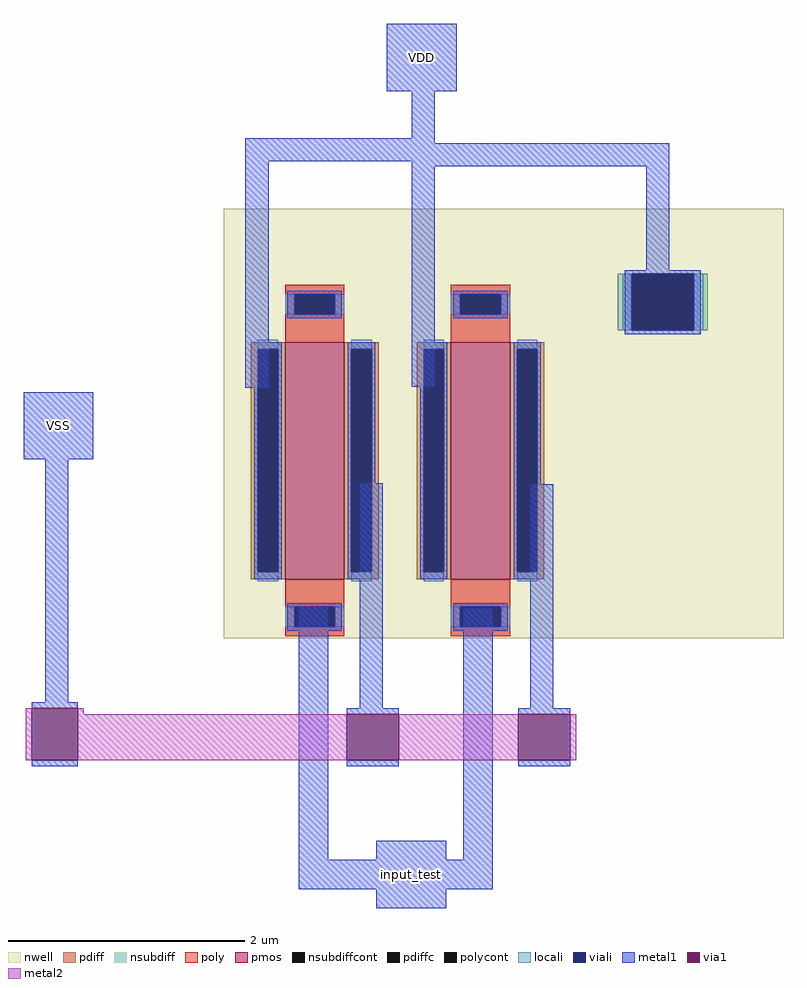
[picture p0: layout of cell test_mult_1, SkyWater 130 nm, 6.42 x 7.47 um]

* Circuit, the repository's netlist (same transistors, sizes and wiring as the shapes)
** sch_path: /home/jaxie963/caravel_pls_man_analog/caravel_user_project_analog/xschem/test_mult_1.sch
.subckt test_mult_1 VDD input_test VSS
*.PININFO VDD:B input_test:B VSS:B
XM1 VSS input_test VDD VDD sky130_fd_pr__pfet_01v8 L=0.5 W=2 nf=1 m=2
.ends
.end

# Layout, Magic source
magic
tech sky130B
magscale 1 2
<< nwell >>
rect -154 -300 792 426
<< nsubdiff >>
rect 512 220 536 316
rect 640 220 664 316
<< nsubdiffcont >>
rect 536 220 640 316
<< locali >>
rect 520 220 536 316
rect 640 220 656 316
<< viali >>
rect 536 220 640 316
<< metal1 >>
rect 122 624 240 738
rect 164 545 203 624
rect -117 536 203 545
rect -117 506 599 536
rect -117 123 -78 506
rect 164 497 599 506
rect 164 125 203 497
rect 560 322 599 497
rect 524 316 652 322
rect 524 220 536 316
rect 640 220 652 316
rect 524 214 652 220
rect -492 2 -374 116
rect -455 -408 -416 2
rect -478 -418 -400 -408
rect -478 -516 -400 -506
rect -27 -674 23 -247
rect 76 -418 115 -38
rect 54 -428 142 -418
rect 54 -516 142 -506
rect 104 -674 222 -642
rect 251 -674 301 -249
rect 364 -418 403 -40
rect 344 -428 432 -418
rect 344 -516 432 -506
rect -27 -724 301 -674
rect 104 -756 222 -724
<< via1 >>
rect -478 -506 -400 -418
rect 54 -506 142 -428
rect 344 -506 432 -428
<< metal2 >>
rect -488 -506 -478 -418
rect -400 -428 -390 -418
rect -400 -506 54 -428
rect 142 -506 344 -428
rect 432 -506 442 -428
use sky130_fd_pr__pfet_01v8_PC7DPC  xm1
transform 1 0 0 0 1 0
box -144 -300 144 300
use sky130_fd_pr__pfet_01v8_PC7DPC  xm2
transform 1 0 280 0 1 0
box -144 -300 144 300
<< labels >>
rlabel metal1 -492 2 -374 116 1 VSS
port 2 n
rlabel metal1 122 624 240 738 1 VDD
port 1 n
rlabel metal1 104 -756 222 -642 1 input_test
port 3 n
<< end >>

# cell sky130_fd_pr__pfet_01v8_PC7DPC: kit device sky130_fd_pr__pfet_01v8, w 2 l 0.5 m 1 nf 1 diffcov 100 polycov 100 guard 0 glc 1 grc 1 gtc 1 gbc 1 tbcov 100 rlcov 100 topc 1 botc 1 poverlap 0 doverlap 1 lmin 0.15 wmin 0.42 class mosfet compatible {sky130_fd_pr__pfet_01v8 sky130_fd_pr__pfet_01v8_lvt sky130_fd_pr__pfet_01v8_hvt sky130_fd_pr__pfet_g5v0d10v5} full_metal 0 viasrc 100 viadrn 100 viagate 100 viagb 0 viagr 0 viagl 0 viagt 0
